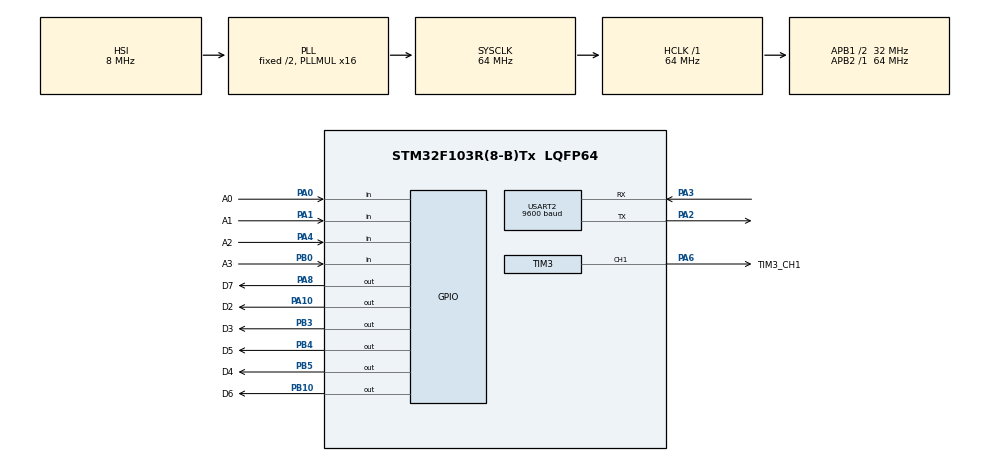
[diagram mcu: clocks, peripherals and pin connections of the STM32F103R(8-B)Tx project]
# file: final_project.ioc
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Mcu.Family=STM32F1
Mcu.Name=STM32F103R(8-B)Tx
Mcu.Package=LQFP64
NVIC.PriorityGroup=NVIC_PRIORITYGROUP_4
NVIC.TIM2_IRQn=true\:0\:0\:false\:false\:true\:true\:true
NVIC.TIM3_IRQn=true\:0\:0\:false\:false\:true\:true\:true
NVIC.USART2_IRQn=true\:0\:0\:false\:false\:true\:true\:true
PA0-WKUP.GPIO_Label=A0
PA0-WKUP.Signal=GPIO_Input
PA1.GPIO_Label=A1
PA1.Signal=GPIO_Input
PA10.GPIO_Label=D2
PA10.Signal=GPIO_Output
PA13.Mode=Serial_Wire
PA13.Signal=SYS_JTMS-SWDIO
PA14.Mode=Serial_Wire
PA14.Signal=SYS_JTCK-SWCLK
PA2.Mode=Asynchronous
PA2.Signal=USART2_TX
PA3.Mode=Asynchronous
PA3.Signal=USART2_RX
PA4.GPIO_Label=A2
PA4.Signal=GPIO_Input
PA6.GPIO_Label=TIM3_CH1
PA6.Signal=S_TIM3_CH1
PA8.GPIO_Label=D7
PA8.Signal=GPIO_Output
PB0.GPIO_Label=A3
PB0.Signal=GPIO_Input
PB10.GPIO_Label=D6
PB10.Signal=GPIO_Output
PB3.GPIO_Label=D3
PB3.Signal=GPIO_Output
PB4.GPIO_Label=D5
PB4.Signal=GPIO_Output
PB5.GPIO_Label=D4
PB5.Signal=GPIO_Output
ProjectManager.HeapSize=0x200
ProjectManager.StackSize=0x400
ProjectManager.TargetToolchain=STM32CubeIDE
RCC.AHBFreq_Value=64000000
RCC.APB1CLKDivider=RCC_HCLK_DIV2
RCC.APB1Freq_Value=32000000
RCC.APB1TimFreq_Value=64000000
RCC.APB2Freq_Value=64000000
RCC.APB2TimFreq_Value=64000000
RCC.HCLKFreq_Value=64000000
RCC.PLLMUL=RCC_PLL_MUL16
RCC.SYSCLKFreq_VALUE=64000000
RCC.SYSCLKSource=RCC_SYSCLKSOURCE_PLLCLK
RCC.USBFreq_Value=64000000
SH.S_TIM3_CH1.0=TIM3_CH1,PWM Generation1 CH1
TIM2.Period=9999
TIM2.Prescaler=63
TIM3.Channel-PWM\ Generation1\ CH1=TIM_CHANNEL_1
TIM3.Period=999
TIM3.Prescaler=63
USART2.BaudRate=9600
USART2.VirtualMode=VM_ASYNC
VP_TIM2_VS_ClockSourceINT.Mode=Internal
VP_TIM3_VS_ClockSourceINT.Mode=Internal
board=custom

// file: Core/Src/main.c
/* USER CODE BEGIN Header */
/**
  ******************************************************************************
  * @file           : main.c
  * @brief          : Main program body
  ******************************************************************************
  * @attention
  *
  * <h2><center>&copy; Copyright (c) 2022 STMicroelectronics.
  * All rights reserved.</center></h2>
  *
  * This software component is licensed by ST under BSD 3-Clause license,
  * the "License"; You may not use this file except in compliance with the
  * License. You may obtain a copy of the License at:
  *                        opensource.org/licenses/BSD-3-Clause
  *
  ******************************************************************************
  */
/* USER CODE END Header */
#include "main.h"

/* USER CODE BEGIN Includes */
#include "timer.h"
#include "button.h"
#include "fsm_traffic.h"
#include "global.h"
#include "scheduler.h"
#include "manual_mode.h"
#include "fsm_automatic.h"

/* USER CODE END Includes */

TIM_HandleTypeDef htim2;
TIM_HandleTypeDef htim3;

UART_HandleTypeDef huart2;

void SystemClock_Config(void);
static void MX_GPIO_Init(void);
static void MX_TIM2_Init(void);
static void MX_TIM3_Init(void);
static void MX_USART2_UART_Init(void);

int main(void)
{

  /* MCU Configuration--------------------------------------------------------*/

  /* Reset of all peripherals, Initializes the Flash interface and the Systick. */
  HAL_Init();

  /* Configure the system clock */
  SystemClock_Config();

  /* Initialize all configured peripherals */
  MX_GPIO_Init();
  MX_TIM2_Init();
  MX_TIM3_Init();
  MX_USART2_UART_Init();
  /* USER CODE BEGIN 2 */
  HAL_TIM_Base_Start_IT(&htim2);
  HAL_TIM_PWM_Start(&htim3, TIM_CHANNEL_1);

  /* USER CODE END 2 */

  /* Infinite loop */
  /* USER CODE BEGIN WHILE */
  uint8_t temp = 0;
  HAL_UART_Receive_IT(&huart2,&temp,1);
  SCH_Init();
  mode=INIT;
  setTimer1(10);
  setTimer2(10);
  SCH_Add_Task(fsm_automatic_run,0,100);
  while (1)
  {
    /* USER CODE END WHILE */
	  SCH_Dispatch_Tasks();
    /* USER CODE BEGIN 3 */
	 __HAL_TIM_SET_COMPARE(&htim3, TIM_CHANNEL_1,PWM);
//	  __HAL_TIM_SET_COMPARE(&htim3, TIM_CHANNEL_1,PWM);
  }
  /* USER CODE END 3 */
}

void SystemClock_Config(void)
{
  RCC_OscInitTypeDef RCC_OscInitStruct = {0};
  RCC_ClkInitTypeDef RCC_ClkInitStruct = {0};

  /** Initializes the RCC Oscillators according to the specified parameters
  * in the RCC_OscInitTypeDef structure.
  */
  RCC_OscInitStruct.OscillatorType = RCC_OSCILLATORTYPE_HSI;
  RCC_OscInitStruct.HSIState = RCC_HSI_ON;
  RCC_OscInitStruct.HSICalibrationValue = RCC_HSICALIBRATION_DEFAULT;
  RCC_OscInitStruct.PLL.PLLState = RCC_PLL_ON;
  RCC_OscInitStruct.PLL.PLLSource = RCC_PLLSOURCE_HSI_DIV2;
  RCC_OscInitStruct.PLL.PLLMUL = RCC_PLL_MUL16;
  if (HAL_RCC_OscConfig(&RCC_OscInitStruct) != HAL_OK)
  {
    Error_Handler();
  }
  /** Initializes the CPU, AHB and APB buses clocks
  */
  RCC_ClkInitStruct.ClockType = RCC_CLOCKTYPE_HCLK|RCC_CLOCKTYPE_SYSCLK
                              |RCC_CLOCKTYPE_PCLK1|RCC_CLOCKTYPE_PCLK2;
  RCC_ClkInitStruct.SYSCLKSource = RCC_SYSCLKSOURCE_PLLCLK;
  RCC_ClkInitStruct.AHBCLKDivider = RCC_SYSCLK_DIV1;
  RCC_ClkInitStruct.APB1CLKDivider = RCC_HCLK_DIV2;
  RCC_ClkInitStruct.APB2CLKDivider = RCC_HCLK_DIV1;

  if (HAL_RCC_ClockConfig(&RCC_ClkInitStruct, FLASH_LATENCY_2) != HAL_OK)
  {
    Error_Handler();
  }
}

static void MX_TIM2_Init(void)
{

  TIM_ClockConfigTypeDef sClockSourceConfig = {0};
  TIM_MasterConfigTypeDef sMasterConfig = {0};

  htim2.Instance = TIM2;
  htim2.Init.Prescaler = 63;
  htim2.Init.CounterMode = TIM_COUNTERMODE_UP;
  htim2.Init.Period = 9999;
  htim2.Init.ClockDivision = TIM_CLOCKDIVISION_DIV1;
  htim2.Init.AutoReloadPreload = TIM_AUTORELOAD_PRELOAD_DISABLE;
  if (HAL_TIM_Base_Init(&htim2) != HAL_OK)
  {
    Error_Handler();
  }
  sClockSourceConfig.ClockSource = TIM_CLOCKSOURCE_INTERNAL;
  if (HAL_TIM_ConfigClockSource(&htim2, &sClockSourceConfig) != HAL_OK)
  {
    Error_Handler();
  }
  sMasterConfig.MasterOutputTrigger = TIM_TRGO_RESET;
  sMasterConfig.MasterSlaveMode = TIM_MASTERSLAVEMODE_DISABLE;
  if (HAL_TIMEx_MasterConfigSynchronization(&htim2, &sMasterConfig) != HAL_OK)
  {
    Error_Handler();
  }

}

static void MX_TIM3_Init(void)
{

  TIM_ClockConfigTypeDef sClockSourceConfig = {0};
  TIM_MasterConfigTypeDef sMasterConfig = {0};
  TIM_OC_InitTypeDef sConfigOC = {0};

  htim3.Instance = TIM3;
  htim3.Init.Prescaler = 63;
  htim3.Init.CounterMode = TIM_COUNTERMODE_UP;
  htim3.Init.Period = 999;
  htim3.Init.ClockDivision = TIM_CLOCKDIVISION_DIV1;
  htim3.Init.AutoReloadPreload = TIM_AUTORELOAD_PRELOAD_DISABLE;
  if (HAL_TIM_Base_Init(&htim3) != HAL_OK)
  {
    Error_Handler();
  }
  sClockSourceConfig.ClockSource = TIM_CLOCKSOURCE_INTERNAL;
  if (HAL_TIM_ConfigClockSource(&htim3, &sClockSourceConfig) != HAL_OK)
  {
    Error_Handler();
  }
  if (HAL_TIM_PWM_Init(&htim3) != HAL_OK)
  {
    Error_Handler();
  }
  sMasterConfig.MasterOutputTrigger = TIM_TRGO_RESET;
  sMasterConfig.MasterSlaveMode = TIM_MASTERSLAVEMODE_DISABLE;
  if (HAL_TIMEx_MasterConfigSynchronization(&htim3, &sMasterConfig) != HAL_OK)
  {
    Error_Handler();
  }
  sConfigOC.OCMode = TIM_OCMODE_PWM1;
  sConfigOC.Pulse = 0;
  sConfigOC.OCPolarity = TIM_OCPOLARITY_HIGH;
  sConfigOC.OCFastMode = TIM_OCFAST_DISABLE;
  if (HAL_TIM_PWM_ConfigChannel(&htim3, &sConfigOC, TIM_CHANNEL_1) != HAL_OK)
  {
    Error_Handler();
  }
  HAL_TIM_MspPostInit(&htim3);

}

static void MX_USART2_UART_Init(void)
{

  huart2.Instance = USART2;
  huart2.Init.BaudRate = 9600;
  huart2.Init.WordLength = UART_WORDLENGTH_8B;
  huart2.Init.StopBits = UART_STOPBITS_1;
  huart2.Init.Parity = UART_PARITY_NONE;
  huart2.Init.Mode = UART_MODE_TX_RX;
  huart2.Init.HwFlowCtl = UART_HWCONTROL_NONE;
  huart2.Init.OverSampling = UART_OVERSAMPLING_16;
  if (HAL_UART_Init(&huart2) != HAL_OK)
  {
    Error_Handler();
  }

}

static void MX_GPIO_Init(void)
{
  GPIO_InitTypeDef GPIO_InitStruct = {0};

  /* GPIO Ports Clock Enable */
  __HAL_RCC_GPIOA_CLK_ENABLE();
  __HAL_RCC_GPIOB_CLK_ENABLE();

  /*Configure GPIO pin Output Level */
  HAL_GPIO_WritePin(GPIOB, D6_Pin|D3_Pin|D5_Pin|D4_Pin, GPIO_PIN_RESET);

  /*Configure GPIO pin Output Level */
  HAL_GPIO_WritePin(GPIOA, D7_Pin|D2_Pin, GPIO_PIN_RESET);

  /*Configure GPIO pins : A0_Pin A1_Pin A2_Pin */
  GPIO_InitStruct.Pin = A0_Pin|A1_Pin|A2_Pin;
  GPIO_InitStruct.Mode = GPIO_MODE_INPUT;
  GPIO_InitStruct.Pull = GPIO_NOPULL;
  HAL_GPIO_Init(GPIOA, &GPIO_InitStruct);

  /*Configure GPIO pin : A3_Pin */
  GPIO_InitStruct.Pin = A3_Pin;
  GPIO_InitStruct.Mode = GPIO_MODE_INPUT;
  GPIO_InitStruct.Pull = GPIO_NOPULL;
  HAL_GPIO_Init(A3_GPIO_Port, &GPIO_InitStruct);

  /*Configure GPIO pins : D6_Pin D3_Pin D5_Pin D4_Pin */
  GPIO_InitStruct.Pin = D6_Pin|D3_Pin|D5_Pin|D4_Pin;
  GPIO_InitStruct.Mode = GPIO_MODE_OUTPUT_PP;
  GPIO_InitStruct.Pull = GPIO_NOPULL;
  GPIO_InitStruct.Speed = GPIO_SPEED_FREQ_LOW;
  HAL_GPIO_Init(GPIOB, &GPIO_InitStruct);

  /*Configure GPIO pins : D7_Pin D2_Pin */
  GPIO_InitStruct.Pin = D7_Pin|D2_Pin;
  GPIO_InitStruct.Mode = GPIO_MODE_OUTPUT_PP;
  GPIO_InitStruct.Pull = GPIO_NOPULL;
  GPIO_InitStruct.Speed = GPIO_SPEED_FREQ_LOW;
  HAL_GPIO_Init(GPIOA, &GPIO_InitStruct);

}

/* USER CODE BEGIN 4 */
void HAL_TIM_PeriodElapsedCallback ( TIM_HandleTypeDef * htim ){
	timer_run();
	getKeyInput();
	SCH_Update();
}
/* USER CODE END 4 */

void Error_Handler(void)
{
  __disable_irq();
  while (1)
  {
  }
}

/************************ (C) COPYRIGHT STMicroelectronics *****END OF FILE****/
